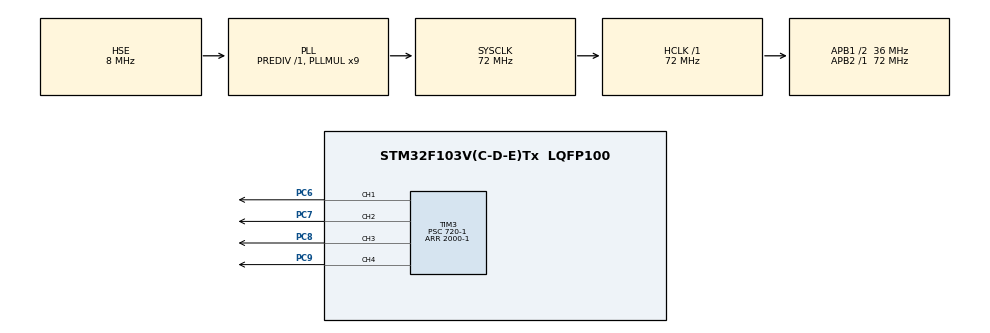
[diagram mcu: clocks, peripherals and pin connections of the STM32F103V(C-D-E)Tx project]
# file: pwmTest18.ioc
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Mcu.Family=STM32F1
Mcu.Name=STM32F103V(C-D-E)Tx
Mcu.Package=LQFP100
NVIC.PriorityGroup=NVIC_PRIORITYGROUP_4
OSC_IN.Mode=HSE-External-Oscillator
OSC_IN.Signal=RCC_OSC_IN
OSC_OUT.Mode=HSE-External-Oscillator
OSC_OUT.Signal=RCC_OSC_OUT
PA13.Mode=Serial_Wire
PA13.Signal=SYS_JTMS-SWDIO
PA14.Mode=Serial_Wire
PA14.Signal=SYS_JTCK-SWCLK
PC6.GPIO_Speed=GPIO_SPEED_FREQ_HIGH
PC6.Signal=S_TIM3_CH1
PC7.GPIO_Speed=GPIO_SPEED_FREQ_HIGH
PC7.Signal=S_TIM3_CH2
PC8.GPIO_Speed=GPIO_SPEED_FREQ_HIGH
PC8.Signal=S_TIM3_CH3
PC9.GPIO_Speed=GPIO_SPEED_FREQ_HIGH
PC9.Signal=S_TIM3_CH4
ProjectManager.HeapSize=0x200
ProjectManager.StackSize=0x400
ProjectManager.TargetToolchain=MDK-ARM V5
RCC.AHBFreq_Value=72000000
RCC.APB1CLKDivider=RCC_HCLK_DIV2
RCC.APB1Freq_Value=36000000
RCC.APB1TimFreq_Value=72000000
RCC.APB2Freq_Value=72000000
RCC.APB2TimFreq_Value=72000000
RCC.HCLKFreq_Value=72000000
RCC.PLLMUL=RCC_PLL_MUL9
RCC.PLLSourceVirtual=RCC_PLLSOURCE_HSE
RCC.SYSCLKFreq_VALUE=72000000
RCC.SYSCLKSource=RCC_SYSCLKSOURCE_PLLCLK
RCC.USBFreq_Value=72000000
SH.S_TIM3_CH1.0=TIM3_CH1,PWM Generation1 CH1
SH.S_TIM3_CH2.0=TIM3_CH2,PWM Generation2 CH2
SH.S_TIM3_CH3.0=TIM3_CH3,PWM Generation3 CH3
SH.S_TIM3_CH4.0=TIM3_CH4,PWM Generation4 CH4
TIM3.Channel-PWM\ Generation1\ CH1=TIM_CHANNEL_1
TIM3.Channel-PWM\ Generation2\ CH2=TIM_CHANNEL_2
TIM3.Channel-PWM\ Generation3\ CH3=TIM_CHANNEL_3
TIM3.Channel-PWM\ Generation4\ CH4=TIM_CHANNEL_4
TIM3.Period=2000-1
TIM3.Prescaler=720-1
TIM3.Pulse-PWM\ Generation1\ CH1=800
TIM3.Pulse-PWM\ Generation2\ CH2=600
TIM3.Pulse-PWM\ Generation3\ CH3=400
TIM3.Pulse-PWM\ Generation4\ CH4=200
VP_TIM3_VS_ClockSourceINT.Mode=Internal
board=pwmTest18

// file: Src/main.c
/**
  ******************************************************************************
  * @file           : main.c
  * @brief          : Main program body
  ******************************************************************************
  ** This notice applies to any and all portions of this file
  * that are not between comment pairs USER CODE BEGIN and
  * USER CODE END. Other portions of this file, whether
  * inserted by the user or by software development tools
  * are owned by their respective copyright owners.
  *
  * COPYRIGHT(c) 2018 STMicroelectronics
  *
  * Redistribution and use in source and binary forms, with or without modification,
  * are permitted provided that the following conditions are met:
  *   1. Redistributions of source code must retain the above copyright notice,
  *      this list of conditions and the following disclaimer.
  *   2. Redistributions in binary form must reproduce the above copyright notice,
  *      this list of conditions and the following disclaimer in the documentation
  *      and/or other materials provided with the distribution.
  *   3. Neither the name of STMicroelectronics nor the names of its contributors
  *      may be used to endorse or promote products derived from this software
  *      without specific prior written permission.
  *
  * THIS SOFTWARE IS PROVIDED BY THE COPYRIGHT HOLDERS AND CONTRIBUTORS "AS IS"
  * AND ANY EXPRESS OR IMPLIED WARRANTIES, INCLUDING, BUT NOT LIMITED TO, THE
  * IMPLIED WARRANTIES OF MERCHANTABILITY AND FITNESS FOR A PARTICULAR PURPOSE ARE
  * DISCLAIMED. IN NO EVENT SHALL THE COPYRIGHT HOLDER OR CONTRIBUTORS BE LIABLE
  * FOR ANY DIRECT, INDIRECT, INCIDENTAL, SPECIAL, EXEMPLARY, OR CONSEQUENTIAL
  * DAMAGES (INCLUDING, BUT NOT LIMITED TO, PROCUREMENT OF SUBSTITUTE GOODS OR
  * SERVICES; LOSS OF USE, DATA, OR PROFITS; OR BUSINESS INTERRUPTION) HOWEVER
  * CAUSED AND ON ANY THEORY OF LIABILITY, WHETHER IN CONTRACT, STRICT LIABILITY,
  * OR TORT (INCLUDING NEGLIGENCE OR OTHERWISE) ARISING IN ANY WAY OUT OF THE USE
  * OF THIS SOFTWARE, EVEN IF ADVISED OF THE POSSIBILITY OF SUCH DAMAGE.
  *
  ******************************************************************************
  */
#include "main.h"
#include "stm32f1xx_hal.h"
#include "tim.h"
#include "gpio.h"

/* USER CODE BEGIN PV */
/* Private variables ---------------------------------------------------------*/

/* USER CODE END PV */

void SystemClock_Config(void);

/* USER CODE BEGIN PFP */
/* Private function prototypes -----------------------------------------------*/

/* USER CODE END PFP */

/* USER CODE BEGIN 0 */

void user_pwm_setvalue(uint16_t value)
{
    TIM_OC_InitTypeDef sConfigOC;

    sConfigOC.OCMode = TIM_OCMODE_PWM1;
    sConfigOC.Pulse = value;
    sConfigOC.OCPolarity = TIM_OCPOLARITY_HIGH;
    sConfigOC.OCFastMode = TIM_OCFAST_DISABLE;
    HAL_TIM_PWM_ConfigChannel(&htim3, &sConfigOC, TIM_CHANNEL_1);
    HAL_TIM_PWM_Start(&htim3, TIM_CHANNEL_1);
}

/* USER CODE END 0 */

int main(void)
{

  /* MCU Configuration----------------------------------------------------------*/

  /* Reset of all peripherals, Initializes the Flash interface and the Systick. */
  HAL_Init();

  /* Configure the system clock */
  SystemClock_Config();

  /* Initialize all configured peripherals */
  MX_GPIO_Init();
  MX_TIM3_Init();
  /* USER CODE BEGIN 2 */

	HAL_TIM_PWM_Start(&htim3,TIM_CHANNEL_1);
	HAL_TIM_PWM_Start(&htim3,TIM_CHANNEL_2);
	HAL_TIM_PWM_Start(&htim3,TIM_CHANNEL_3);
	HAL_TIM_PWM_Start(&htim3,TIM_CHANNEL_4);

 int pwm_value=0;
int flag = 0;
  /* USER CODE END 2 */

  /* Infinite loop */
  while (1)
  {

  /* USER CODE BEGIN 3 */

  HAL_Delay(1000);
		pwm_value++;
		if(pwm_value > 9){

		pwm_value = 0;
		}

  user_pwm_setvalue(pwm_value);
	}

  /* USER CODE END 3 */

}

void SystemClock_Config(void)
{

  RCC_OscInitTypeDef RCC_OscInitStruct;
  RCC_ClkInitTypeDef RCC_ClkInitStruct;

    /**Initializes the CPU, AHB and APB busses clocks
    */
  RCC_OscInitStruct.OscillatorType = RCC_OSCILLATORTYPE_HSE;
  RCC_OscInitStruct.HSEState = RCC_HSE_ON;
  RCC_OscInitStruct.HSEPredivValue = RCC_HSE_PREDIV_DIV1;
  RCC_OscInitStruct.HSIState = RCC_HSI_ON;
  RCC_OscInitStruct.PLL.PLLState = RCC_PLL_ON;
  RCC_OscInitStruct.PLL.PLLSource = RCC_PLLSOURCE_HSE;
  RCC_OscInitStruct.PLL.PLLMUL = RCC_PLL_MUL9;
  if (HAL_RCC_OscConfig(&RCC_OscInitStruct) != HAL_OK)
  {
    _Error_Handler(__FILE__, __LINE__);
  }

    /**Initializes the CPU, AHB and APB busses clocks
    */
  RCC_ClkInitStruct.ClockType = RCC_CLOCKTYPE_HCLK|RCC_CLOCKTYPE_SYSCLK
                              |RCC_CLOCKTYPE_PCLK1|RCC_CLOCKTYPE_PCLK2;
  RCC_ClkInitStruct.SYSCLKSource = RCC_SYSCLKSOURCE_PLLCLK;
  RCC_ClkInitStruct.AHBCLKDivider = RCC_SYSCLK_DIV1;
  RCC_ClkInitStruct.APB1CLKDivider = RCC_HCLK_DIV2;
  RCC_ClkInitStruct.APB2CLKDivider = RCC_HCLK_DIV1;

  if (HAL_RCC_ClockConfig(&RCC_ClkInitStruct, FLASH_LATENCY_2) != HAL_OK)
  {
    _Error_Handler(__FILE__, __LINE__);
  }

    /**Configure the Systick interrupt time
    */
  HAL_SYSTICK_Config(HAL_RCC_GetHCLKFreq()/1000);

    /**Configure the Systick
    */
  HAL_SYSTICK_CLKSourceConfig(SYSTICK_CLKSOURCE_HCLK);

  /* SysTick_IRQn interrupt configuration */
  HAL_NVIC_SetPriority(SysTick_IRQn, 0, 0);
}

void _Error_Handler(char *file, int line)
{
  while(1)
  {
  }
}

/************************ (C) COPYRIGHT STMicroelectronics *****END OF FILE****/
